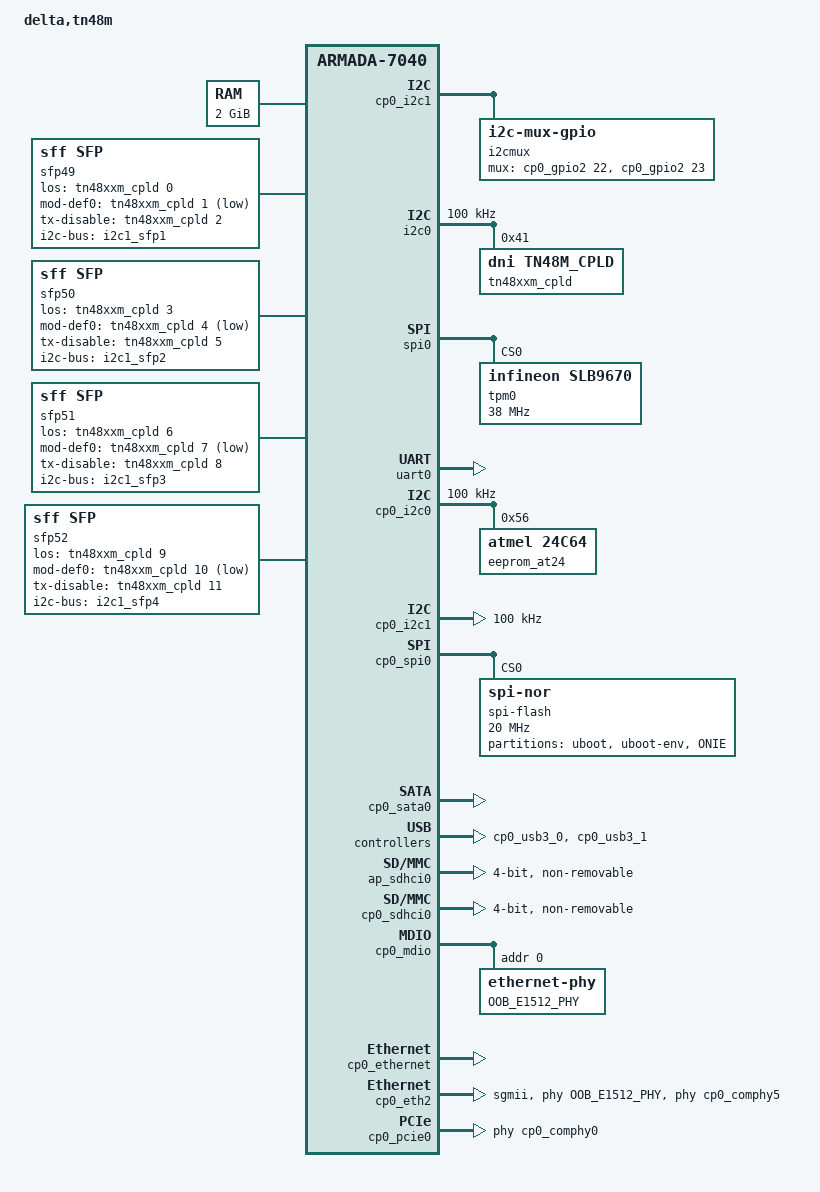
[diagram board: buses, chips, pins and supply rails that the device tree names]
/*
 * Delta TN48M/TN48M2/TN48M-POE Device Tree Source
 *
 * Copyright (C) 2016 Marvell Technology Group Ltd.
 *
 * This file is dual-licensed: you can use it either under the terms
 * of the GPLv2 or the X11 license, at your option. Note that this dual
 * licensing only applies to this file, and not this project as a
 * whole.
 *
 *  a) This library is free software; you can redistribute it and/or
 *     modify it under the terms of the GNU General Public License as
 *     published by the Free Software Foundation; either version 2 of the
 *     License, or (at your option) any later version.
 *
 *     This library is distributed in the hope that it will be useful,
 *     but WITHOUT ANY WARRANTY; without even the implied warranty of
 *     MERCHANTABILITY or FITNESS FOR A PARTICULAR PURPOSE.  See the
 *     GNU General Public License for more details.
 *
 * Or, alternatively,
 *
 *  b) Permission is hereby granted, free of charge, to any person
 *     obtaining a copy of this software and associated documentation
 *     files (the "Software"), to deal in the Software without
 *     restriction, including without limitation the rights to use,
 *     copy, modify, merge, publish, distribute, sublicense, and/or
 *     sell copies of the Software, and to permit persons to whom the
 *     Software is furnished to do so, subject to the following
 *     conditions:
 *
 *     The above copyright notice and this permission notice shall be
 *     included in all copies or substantial portions of the Software.
 *
 *     THE SOFTWARE IS PROVIDED "AS IS", WITHOUT WARRANTY OF ANY KIND,
 *     EXPRESS OR IMPLIED, INCLUDING BUT NOT LIMITED TO THE WARRANTIES
 *     OF MERCHANTABILITY, FITNESS FOR A PARTICULAR PURPOSE AND
 *     NONINFRINGEMENT. IN NO EVENT SHALL THE AUTHORS OR COPYRIGHT
 *     HOLDERS BE LIABLE FOR ANY CLAIM, DAMAGES OR OTHER LIABILITY,
 *     WHETHER IN AN ACTION OF CONTRACT, TORT OR OTHERWISE, ARISING
 *     FROM, OUT OF OR IN CONNECTION WITH THE SOFTWARE OR THE USE OR
 *     OTHER DEALINGS IN THE SOFTWARE.
 */

#include <dt-bindings/gpio/gpio.h>
#include "armada-7040.dtsi"

/ {
	model = "delta,tn48m";
	compatible = "delta,tn48m";

	chosen {
		stdout-path = "serial0:115200n8";
	};

	memory@0 {
		device_type = "memory";
		reg = <0x0 0x0 0x0 0x80000000>;
	};

	aliases {
		ethernet0 = &cp0_eth0;
		ethernet1 = &cp0_eth1;
		ethernet2 = &cp0_eth2;
	};

	switch-cpu {
		compatible = "marvell,prestera-switch-rxtx-sdma";
		status = "okay";
	};

	sfp49: sfp-49 {
		compatible = "sff,sfp";
		i2c-bus = <&i2c1_sfp1>;
		los-gpio = <&tn48xxm_cpld 0 GPIO_ACTIVE_HIGH>;
		mod-def0-gpio = <&tn48xxm_cpld 1 GPIO_ACTIVE_LOW>;
		tx-disable-gpio = <&tn48xxm_cpld 2 GPIO_ACTIVE_HIGH>;
	};
	sfp50: sfp-50 {
		compatible = "sff,sfp";
		i2c-bus = <&i2c1_sfp2>;
		los-gpio = <&tn48xxm_cpld 3 GPIO_ACTIVE_HIGH>;
		mod-def0-gpio = <&tn48xxm_cpld 4 GPIO_ACTIVE_LOW>;
		tx-disable-gpio = <&tn48xxm_cpld 5 GPIO_ACTIVE_HIGH>;
	};
	sfp51: sfp-51 {
		compatible = "sff,sfp";
		i2c-bus = <&i2c1_sfp3>;
		los-gpio = <&tn48xxm_cpld 6 GPIO_ACTIVE_HIGH>;
		mod-def0-gpio = <&tn48xxm_cpld 7 GPIO_ACTIVE_LOW>;
		tx-disable-gpio = <&tn48xxm_cpld 8 GPIO_ACTIVE_HIGH>;
	};
	sfp52: sfp-52 {
		compatible = "sff,sfp";
		i2c-bus = <&i2c1_sfp4>;
		los-gpio = <&tn48xxm_cpld 9 GPIO_ACTIVE_HIGH>;
		mod-def0-gpio = <&tn48xxm_cpld 10 GPIO_ACTIVE_LOW>;
		tx-disable-gpio = <&tn48xxm_cpld 11 GPIO_ACTIVE_HIGH>;
	};

	i2cmux {
		compatible = "i2c-mux-gpio";
		#address-cells = <1>;
		#size-cells = <0>;
		mux-gpios = <&cp0_gpio2 22 0 &cp0_gpio2 23 0>;
		i2c-parent = <&cp0_i2c1>;

		i2c1_sfp1: i2c@0 {
			reg = <0>;
			#address-cells = <1>;
			#size-cells = <0>;
		};

		i2c1_sfp2: i2c@1 {
			reg = <1>;
			#address-cells = <1>;
			#size-cells = <0>;
		};

		i2c1_sfp3: i2c@2 {
			reg = <2>;
			#address-cells = <1>;
			#size-cells = <0>;
		};

		i2c1_sfp4: i2c@3 {
			reg = <3>;
			#address-cells = <1>;
			#size-cells = <0>;
		};
	};

	prestera {
		compatible = "marvell,prestera";
		status = "okay";

		ports {
			port49 {
				prestera,port-num = <49>;
				sfp = <&sfp49>;
			};
			port50 {
				prestera,port-num = <50>;
				sfp = <&sfp50>;
			};
			port51 {
				prestera,port-num = <51>;
				sfp = <&sfp51>;
			};
			port52 {
				prestera,port-num = <52>;
				sfp = <&sfp52>;
			};
		};
	};

	onie_eeprom: onie-eeprom {
		compatible = "onie-nvmem-cells";
		status = "okay";

		nvmem = <&eeprom_at24>;
	};

	prestera {
		compatible = "marvell,prestera";
		status = "okay";

		base-mac-provider = <&onie_eeprom>;
	};
};

&i2c0 {
	status = "okay";
	clock-frequency = <100000>;

	tn48xxm_cpld: tn48xxm-cpld@41 {
		compatible = "dni,tn48m_cpld";
		#address-cells = <1>;
		#size-cells = <0>;
		gpio-controller;
		#gpio-cells = <2>;
		reg = <0x41>;  /* CPLD/MUX I2C address */

		gpio-map {
			/* sfp1 */
			sfp01_gpio00_loss {
				reg-map = <0x40 (1 << 0)>; /* 0x40=register in the CPLD, (1 << 0)=Selected bit */
				gpio-num = <0>;  /* Logical number used by: los-gpio, mod-def0-gpio and tx-disable-gpio */
			};
			sfp01_gpio01_pres {
				reg-map = <0x3a (1 << 0)>; /* reg mask */
				gpio-num = <1>;
			};
			sfp01_gpio02_tx_dis {
				reg-map = <0x31 (1 << 0)>; /* reg mask */
				gpio-num = <2>;
			};
			/* sfp2 */
			sfp02_gpio00_sfp_loss {
				reg-map = <0x40 (1 << 1)>; /* reg mask */
				gpio-num = <3>;
			};
			sfp02_gpio01_sfp_pres {
				reg-map = <0x3a (1 << 1)>; /* reg mask */
				gpio-num = <4>;
			};
			sfp02_gpio02_tx_dis {
				reg-map = <0x31 (1 << 1)>; /* reg mask */
				gpio-num = <5>;
			};
			/* sfp3 */
			sfp03_gpio00_loss {
				reg-map = <0x40 (1 << 2)>; /* reg mask */
				gpio-num = <6>;
			};
			sfp03_gpio01_pres {
				reg-map = <0x3a (1 << 2)>; /* reg mask */
				gpio-num = <7>;
			};
			sfp03_gpio02_tx_dis {
				reg-map = <0x31 (1 << 2)>; /* reg mask */
				gpio-num = <8>;
			};
			/* sfp4 */
			sfp04_gpio00_loss {
				reg-map = <0x40 (1 << 3)>; /* reg mask */
				gpio-num = <9>;
			};
			sfp04_gpio01_sfp_pres {
				reg-map = <0x3a (1 << 3)>; /* reg mask */
				gpio-num = <10>;
			};
			sfp04_gpio02_tx_dis {
				reg-map = <0x31 (1 << 3)>; /* reg mask */
				gpio-num = <11>;
			};
		};
	};
};

&spi0 {
	status = "okay";

	tpm0: slb9670@0 {
		compatible = "infineon,slb9670";
		reg = <0>;
		spi-max-frequency = <38000000>;
		status = "okay";
	};
};

&uart0 {
	status = "okay";
};

&cp0_i2c0 {
	status = "okay";
	clock-frequency = <100000>;

	eeprom_at24: at24@56 {
		compatible = "atmel,24c64";
		reg = <0x56>;
	};
};

&cp0_i2c1 {
	status = "okay";
	clock-frequency = <100000>;
};

&cp0_spi0 {
	status = "okay";

	spi-flash@0 {
		compatible = "jedec,spi-nor";
		reg = <0x0>;
		spi-max-frequency = <20000000>;

		partitions {
			compatible = "fixed-partitions";
			#address-cells = <1>;
			#size-cells = <1>;

			partition@0 {
				label = "uboot";
				reg = <0x0 0x3f0000>;
			};

			partition@3f0000 {
				label = "uboot-env";
				reg = <0x3f0000 0x010000>;
			};

			partition@400000 {
				label = "ONIE";
				reg = <0x400000 0xc00000>;
			};
		};
	};
};

&cp0_sata0 {
	status = "okay";
};

&cp0_usb3_0 {
	status = "okay";
};

&cp0_usb3_1 {
	status = "okay";
};

&ap_sdhci0 {
	status = "okay";
	bus-width = <4>;
	no-1-8-v;
	non-removable;
};

&cp0_sdhci0 {
	status = "okay";
	bus-width = <4>;
	no-1-8-v;
	non-removable;
};

&cp0_mdio {
	status = "okay";

	OOB_E1512_PHY: ethernet-phy@1 {
		reg = <0x0>;
	};
};

&cp0_ethernet {
	status = "okay";
};

&cp0_eth0 {
	status = "disabled";
};

&cp0_eth1 {
	status = "disabled";
};

&cp0_eth2 {
	status = "okay";

	phy-mode = "sgmii";
	phy = <&OOB_E1512_PHY>;
	phys = <&cp0_comphy5 2>;
};

&cp0_crypto {
	status = "disabled";
};

&cp0_pcie0 {
	dma-ranges = <0x42000000 0x0 0x00000000 0x0 0x00000000 0x0 0x40000000>;
	ranges = <0x81000000 0x0 0xfb000000 0x0 0xfb000000 0x0 0xf0000
		0x82000000 0x0 0xf6000000 0x0 0xf6000000 0x0 0x0f00000
		0x82000000 0x0 0xf9000000 0x0 0xf9000000 0x0 0x100000>;
	phys = <&cp0_comphy0 0>;
	status = "okay";
};

